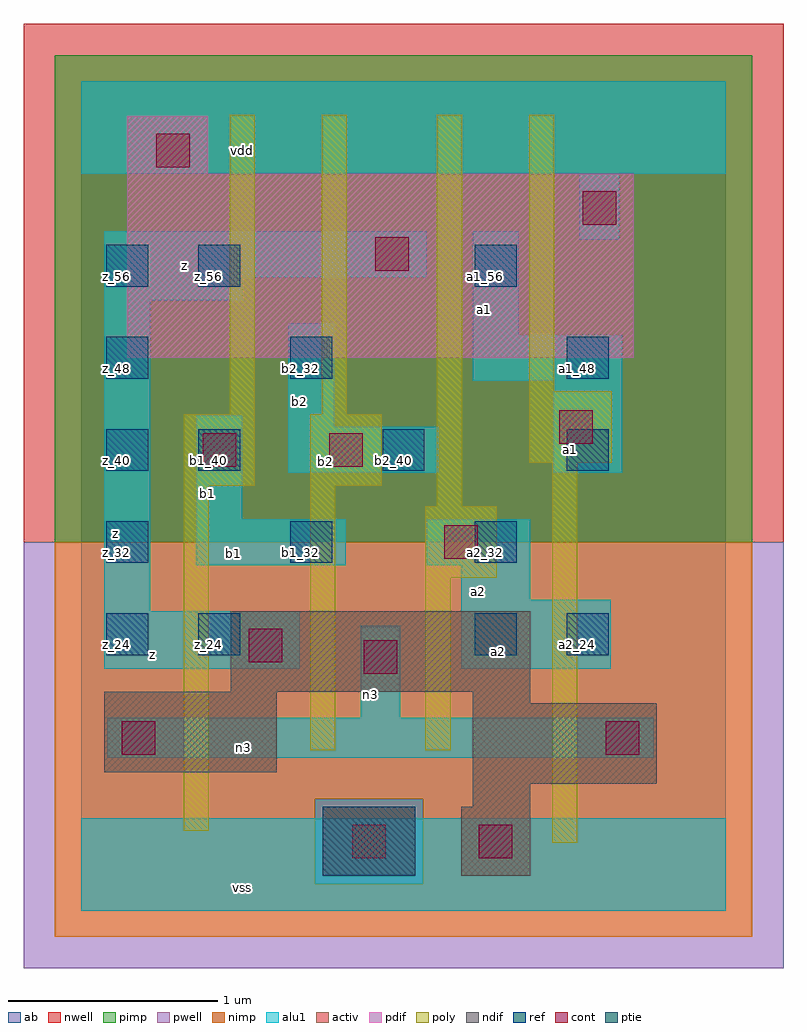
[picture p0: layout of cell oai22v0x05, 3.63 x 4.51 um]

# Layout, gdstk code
import gdstk
lib = gdstk.Library(unit=1e-6, precision=2.5e-09)
def R(c, l, rs):  # rectangles x0, y0, x1, y1
    for r in rs: c.add(gdstk.rectangle(r[:2], r[2:], *l))
def A(c, l, x, y, w, h, nx, ny, dx, dy):  # array of equal rectangles
    R(c, l, [(x+i*dx, y+j*dy, x+i*dx+w, y+j*dy+h) for i in range(nx) for j in range(ny)])
ndif = (3, 0)
pdif = (4, 0)
ptie = (6, 0)
ref = (24, 0)
cont = (25, 0)
pwell = (41, 0)
nwell = (42, 0)
activ = (43, 0)
pimp = (44, 0)
nimp = (45, 0)
poly = (46, 0)
alu1 = (49, 0)
ab = (63, 0)

oai22v0x05 = lib.new_cell('oai22v0x05')
R(oai22v0x05, ndif, [(1.815,0.165,2.145,0.495), (1.87,0.495,2.145,0.605), (1.87,0.605,2.75,0.99), (0.11,0.66,0.935,1.045), (1.87,0.99,2.145,1.045), (0.715,1.045,2.145,1.43)])
R(oai22v0x05, pdif, [(0.22,2.64,2.64,3.52), (0.22,3.52,0.605,3.795)])
R(oai22v0x05, ptie, [(1.155,0.165,1.595,0.495)])
A(oai22v0x05, ref, 0.12, 1.66, 0.2, 0.2, 3, 1, 0.88, 0)
A(oai22v0x05, ref, 0.12, 2.1, 0.2, 0.2, 1, 3, 0, 0.44)
A(oai22v0x05, ref, 0.56, 2.1, 0.2, 0.2, 3, 1, 0.88, 0)
R(oai22v0x05, ref, [(0.12,1.22,0.32,1.42), (0.56,1.22,0.76,1.42), (1.88,1.22,2.08,1.42), (2.32,1.22,2.52,1.42), (1,2.54,1.2,2.74), (2.32,2.54,2.52,2.74), (0.56,2.98,0.76,3.18), (1.88,2.98,2.08,3.18)])
R(oai22v0x05, cont, [(1.295,0.25,1.455,0.41), (1.9,0.25,2.06,0.41), (0.195,0.745,0.355,0.905), (2.505,0.745,2.665,0.905), (1.35,1.13,1.51,1.29), (0.8,1.185,0.96,1.345), (1.735,1.68,1.895,1.84), (0.58,2.12,0.74,2.28), (1.185,2.12,1.345,2.28), (2.285,2.23,2.445,2.39), (1.405,3.055,1.565,3.215), (2.395,3.275,2.555,3.435), (0.36,3.55,0.52,3.71)])
R(oai22v0x05, pwell, [(-0.275,-0.275,3.355,1.76)])
R(oai22v0x05, nwell, [(-0.275,1.76,3.355,4.235)])
R(oai22v0x05, activ, [(1.155,0.165,1.595,0.495), (1.815,0.165,2.145,0.495), (1.87,0.495,2.145,0.605), (1.87,0.605,2.75,0.99), (0.11,0.66,0.935,1.045), (1.87,0.99,2.145,1.045), (0.715,1.045,2.145,1.43), (0.22,2.64,2.64,3.52), (0.22,3.52,0.605,3.795)])
R(oai22v0x05, pimp, [(1.115,0.125,1.635,0.535), (-0.125,1.76,3.205,4.085)])
R(oai22v0x05, nimp, [(-0.125,-0.125,3.205,0.125), (-0.125,0.125,1.115,0.535), (1.635,0.125,3.205,0.535), (-0.125,0.535,3.205,1.76)])
R(oai22v0x05, poly, [(2.25,0.325,2.37,2.14), (0.49,0.38,0.61,2.03), (1.095,0.765,1.215,2.03), (1.645,0.765,1.765,1.59), (1.645,1.59,1.985,1.93), (1.7,1.93,1.82,3.8), (0.49,2.03,0.83,2.37), (1.095,2.03,1.435,2.37), (2.14,2.14,2.535,2.48), (0.71,2.37,0.83,3.8), (1.15,2.37,1.27,3.8), (2.14,2.48,2.26,3.8)])
R(oai22v0x05, alu1, [(0,0,3.08,0.44), (0.125,0.73,2.735,0.92), (1.335,0.92,1.525,1.36), (0.11,1.155,1.045,1.43), (1.815,1.155,2.53,1.485), (0.11,1.43,0.33,2.915), (1.815,1.485,2.145,1.65), (0.55,1.65,1.265,1.87), (1.65,1.65,2.145,1.87), (0.55,1.87,0.77,2.365), (0.99,2.09,1.705,2.31), (2.255,2.09,2.585,2.53), (0.99,2.31,1.21,2.805), (1.87,2.53,2.585,2.75), (1.87,2.75,2.09,3.245), (0.11,2.915,0.77,3.025), (0.11,3.025,1.65,3.245), (2.38,3.205,2.57,3.52), (0,3.52,3.08,3.96)])
R(oai22v0x05, ab, [(0,0,3.08,3.96)])
oai22v0x05.add(gdstk.Label('vss', (0.77,0.11), layer=49, texttype=0))
oai22v0x05.add(gdstk.Label('n3', (0.7775,0.7775), layer=49, texttype=0))
oai22v0x05.add(gdstk.Label('a2', (1.9925,1.2375), layer=49, texttype=0))
oai22v0x05.add(gdstk.Label('n3', (1.3825,1.03), layer=49, texttype=0))
oai22v0x05.add(gdstk.Label('z', (0.3425,1.2225), layer=49, texttype=0))
oai22v0x05.add(gdstk.Label('a2', (1.8975,1.525), layer=49, texttype=0))
oai22v0x05.add(gdstk.Label('b1', (0.7275,1.705), layer=49, texttype=0))
oai22v0x05.add(gdstk.Label('a1', (2.3375,2.2), layer=49, texttype=0))
oai22v0x05.add(gdstk.Label('b2', (1.1675,2.145), layer=49, texttype=0))
oai22v0x05.add(gdstk.Label('a1', (1.925,2.8725), layer=49, texttype=0))
oai22v0x05.add(gdstk.Label('b2', (1.045,2.4325), layer=49, texttype=0))
oai22v0x05.add(gdstk.Label('b1', (0.605,1.9925), layer=49, texttype=0))
oai22v0x05.add(gdstk.Label('z', (0.165,1.8), layer=49, texttype=0))
oai22v0x05.add(gdstk.Label('z', (0.495,3.08), layer=49, texttype=0))
oai22v0x05.add(gdstk.Label('vdd', (0.77,3.63), layer=49, texttype=0))
oai22v0x05.add(gdstk.Label('z_24', (0.61,1.27), layer=24, texttype=0))
oai22v0x05.add(gdstk.Label('b1_40', (0.61,2.15), layer=24, texttype=0))
oai22v0x05.add(gdstk.Label('z_56', (0.61,3.03), layer=24, texttype=0))
oai22v0x05.add(gdstk.Label('b1_32', (1.05,1.71), layer=24, texttype=0))
oai22v0x05.add(gdstk.Label('b2_32', (1.05,2.59), layer=24, texttype=0))
oai22v0x05.add(gdstk.Label('b2_40', (1.49,2.15), layer=24, texttype=0))
oai22v0x05.add(gdstk.Label('a2_24', (1.93,1.27), layer=24, texttype=0))
oai22v0x05.add(gdstk.Label('a2_32', (1.93,1.71), layer=24, texttype=0))
oai22v0x05.add(gdstk.Label('a1_56', (1.93,3.03), layer=24, texttype=0))
oai22v0x05.add(gdstk.Label('z_24', (0.17,1.27), layer=24, texttype=0))
oai22v0x05.add(gdstk.Label('z_32', (0.17,1.71), layer=24, texttype=0))
oai22v0x05.add(gdstk.Label('z_40', (0.17,2.15), layer=24, texttype=0))
oai22v0x05.add(gdstk.Label('z_48', (0.17,2.59), layer=24, texttype=0))
oai22v0x05.add(gdstk.Label('z_56', (0.17,3.03), layer=24, texttype=0))
oai22v0x05.add(gdstk.Label('a2_24', (2.37,1.27), layer=24, texttype=0))
oai22v0x05.add(gdstk.Label('a1_40', (2.37,2.15), layer=24, texttype=0))
oai22v0x05.add(gdstk.Label('a1_48', (2.37,2.59), layer=24, texttype=0))

lib.write_gds('oai22v0x05.gds')
